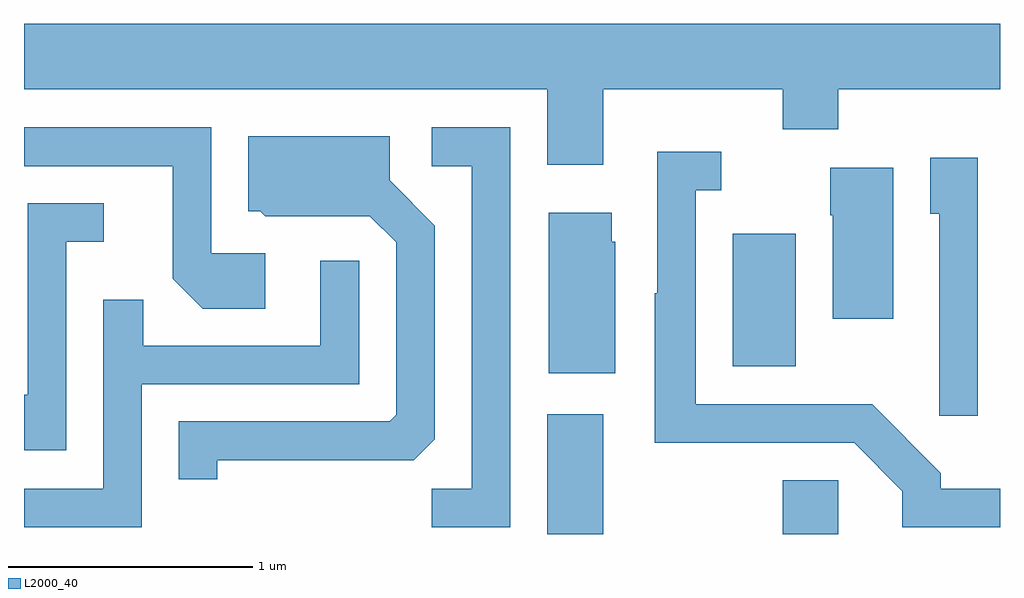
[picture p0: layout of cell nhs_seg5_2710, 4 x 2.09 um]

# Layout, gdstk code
import gdstk
lib = gdstk.Library(unit=1e-6, precision=1e-09)
def R(c, l, rs):  # rectangles x0, y0, x1, y1
    for r in rs: c.add(gdstk.rectangle(r[:2], r[2:], *l))
def P(c, l, *ps):  # polygons
    for p in ps: c.add(gdstk.Polygon(p, *l))
L2000_40 = (2000, 40)

nhs_seg5_2710 = lib.new_cell('nhs_seg5_2710')
R(nhs_seg5_2710, L2000_40, [(267.756,1466.072,267.984,1466.564), (268.721,1466.072,268.949,1466.294), (268.516,1466.761,268.774,1467.304)])
P(nhs_seg5_2710, L2000_40, [(267.984,1467.896),(268.721,1467.896),(268.721,1467.731),(268.949,1467.731),(268.949,1467.896),(269.611,1467.896),(269.611,1468.164),(265.611,1468.164),(265.611,1467.896),(267.756,1467.896),(267.756,1467.586),(267.984,1467.586)],
  [(266.599,1467.224),(266.379,1467.224),(266.379,1467.739),(265.611,1467.739),(265.611,1467.581),(266.221,1467.581),(266.221,1467.119),(266.344,1466.996),(266.599,1466.996)],
  [(267.604,1467.739),(267.283,1467.739),(267.283,1467.581),(267.446,1467.581),(267.446,1466.259),(267.283,1466.259),(267.283,1466.101),(267.604,1466.101)],
  [(266.404,1466.376),(267.209,1466.376),(267.294,1466.462),(267.294,1467.337),(267.109,1467.522),(267.109,1467.704),(266.531,1467.704),(266.531,1467.396),(266.579,1467.396),(266.599,1467.376),(267.029,1467.376),(267.136,1467.269),(267.136,1466.562),(267.109,1466.534),(266.246,1466.534),(266.246,1466.298),(266.404,1466.298)],
  [(269.611,1466.259),(269.369,1466.259),(269.369,1466.322),(269.087,1466.604),(268.364,1466.604),(268.364,1467.481),(268.468,1467.481),(268.468,1467.639),(268.206,1467.639),(268.206,1467.06),(268.196,1467.06),(268.196,1466.446),(269.014,1466.446),(269.211,1466.249),(269.211,1466.101),(269.611,1466.101)],
  [(269.519,1467.614),(269.326,1467.614),(269.326,1467.386),(269.361,1467.386),(269.361,1466.558),(269.519,1466.558)],
  [(269.174,1467.574),(268.916,1467.574),(268.916,1467.38),(268.926,1467.38),(268.926,1466.956),(269.174,1466.956)],
  [(265.784,1467.271),(265.938,1467.271),(265.938,1467.429),(265.626,1467.429),(265.626,1466.644),(265.611,1466.644),(265.611,1466.416),(265.784,1466.416)],
  [(268.034,1467.27),(268.019,1467.27),(268.019,1467.389),(267.761,1467.389),(267.761,1466.731),(268.034,1466.731)],
  [(266.094,1466.686),(266.984,1466.686),(266.984,1467.193),(266.826,1467.193),(266.826,1466.844),(266.099,1466.844),(266.099,1467.033),(265.936,1467.033),(265.936,1466.259),(265.611,1466.259),(265.611,1466.101),(266.094,1466.101)])

lib.write_gds('nhs_seg5_2710.gds')
